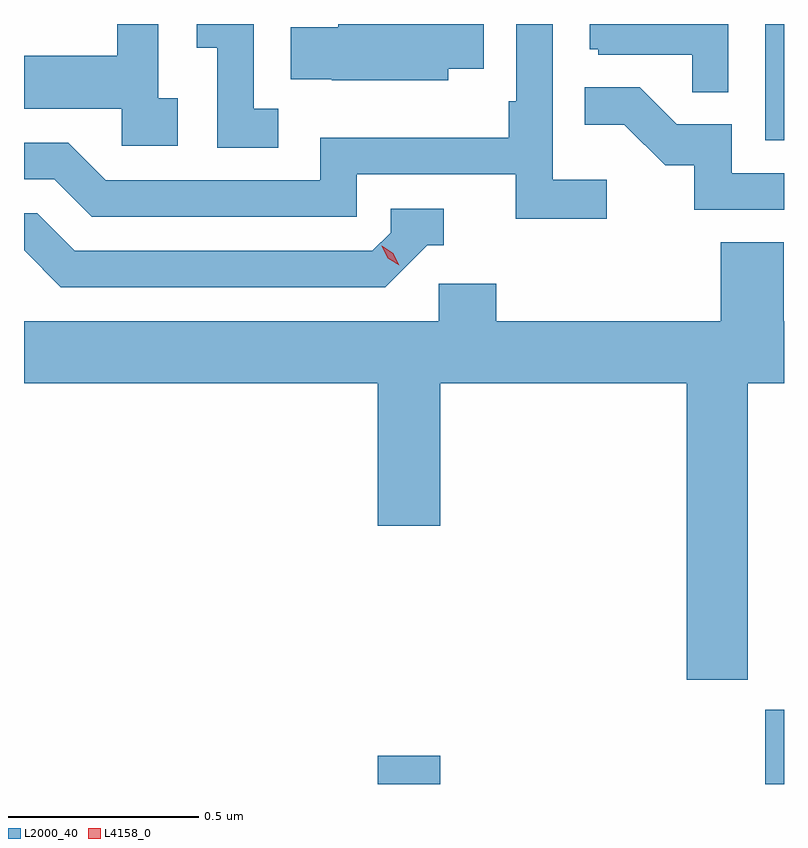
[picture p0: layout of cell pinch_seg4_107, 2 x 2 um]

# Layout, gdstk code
import gdstk
lib = gdstk.Library(unit=1e-6, precision=1e-09)
def R(c, l, rs):  # rectangles x0, y0, x1, y1
    for r in rs: c.add(gdstk.rectangle(r[:2], r[2:], *l))
def P(c, l, *ps):  # polygons
    for p in ps: c.add(gdstk.Polygon(p, *l))
L2000_40 = (2000, 40)
L4158_0 = (4158, 0)

pinch_seg4_107 = lib.new_cell('pinch_seg4_107')
R(pinch_seg4_107, L2000_40, [(1040.132,806.422,1040.296,806.497), (1041.152,806.422,1041.201,806.617), (1041.152,808.116,1041.201,808.422)])
P(pinch_seg4_107, L2000_40, [(1040.317,808.304),(1040.411,808.304),(1040.411,808.422),(1040.028,808.422),(1040.028,808.414),(1039.903,808.414),(1039.903,808.277),(1040.011,808.277),(1040.011,808.274),(1040.317,808.274)],
  [(1041.054,808.422),(1040.69,808.422),(1040.69,808.356),(1040.712,808.356),(1040.712,808.341),(1040.959,808.341),(1040.959,808.243),(1041.054,808.243)],
  [(1039.606,808.226),(1039.554,808.226),(1039.554,808.422),(1039.446,808.422),(1039.446,808.339),(1039.201,808.339),(1039.201,808.199),(1039.458,808.199),(1039.458,808.101),(1039.606,808.101)],
  [(1040.734,808.012),(1040.592,808.012),(1040.592,808.422),(1040.496,808.422),(1040.496,808.219),(1040.476,808.219),(1040.476,808.123),(1039.98,808.123),(1039.98,808.011),(1039.416,808.011),(1039.317,808.11),(1039.201,808.11),(1039.201,808.014),(1039.28,808.014),(1039.379,807.915),(1040.076,807.915),(1040.076,808.026),(1040.495,808.026),(1040.495,807.91),(1040.734,807.91)],
  [(1039.87,808.199),(1039.806,808.199),(1039.806,808.422),(1039.655,808.422),(1039.655,808.36),(1039.71,808.36),(1039.71,808.096),(1039.87,808.096)],
  [(1041.201,808.029),(1041.063,808.029),(1041.063,808.158),(1040.919,808.158),(1040.821,808.256),(1040.677,808.256),(1040.677,808.157),(1040.781,808.157),(1040.888,808.05),(1040.965,808.05),(1040.965,807.933),(1041.201,807.933)],
  [(1040.262,807.84),(1040.305,807.84),(1040.305,807.936),(1040.166,807.936),(1040.166,807.873),(1040.118,807.825),(1039.335,807.825),(1039.236,807.924),(1039.201,807.924),(1039.201,807.826),(1039.298,807.729),(1040.151,807.729)],
  [(1041.105,807.476),(1041.201,807.476),(1041.201,807.64),(1041.2,807.64),(1041.2,807.848),(1041.035,807.848),(1041.035,807.64),(1040.444,807.64),(1040.444,807.738),(1040.292,807.738),(1040.292,807.64),(1039.201,807.64),(1039.201,807.476),(1040.132,807.476),(1040.132,807.102),(1040.296,807.102),(1040.296,807.476),(1040.945,807.476),(1040.945,806.697),(1041.105,806.697)])
P(pinch_seg4_107, L4158_0, [(1040.188,807.787),(1040.158,807.806),(1040.143,807.839),(1040.143,807.839),(1040.143,807.839),(1040.173,807.819),(1040.189,807.787),(1040.189,807.787)])

lib.write_gds('pinch_seg4_107.gds')
